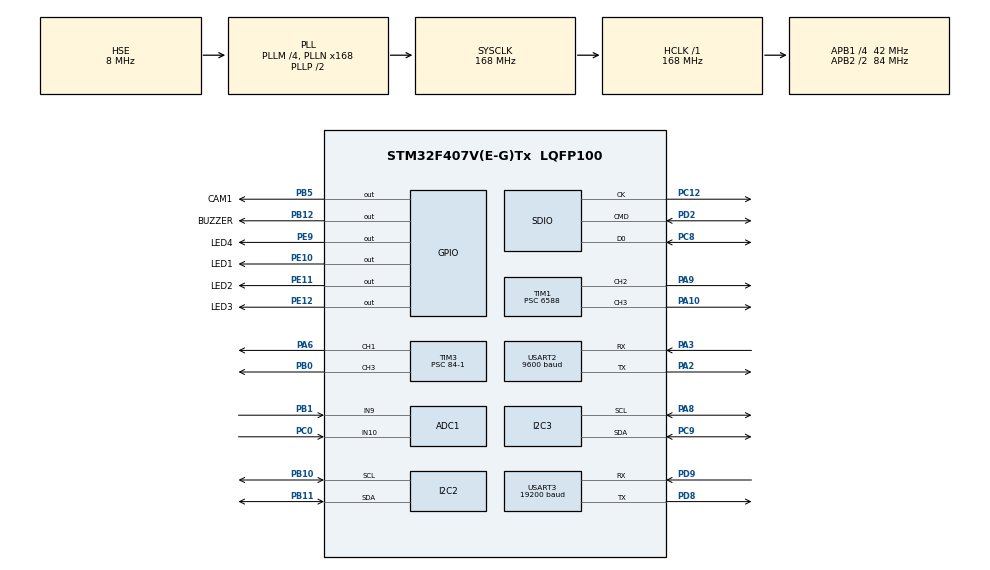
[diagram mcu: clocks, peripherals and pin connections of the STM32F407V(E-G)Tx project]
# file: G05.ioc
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ADC1.Channel-2\#ChannelRegularConversion=ADC_CHANNEL_10
ADC1.ContinuousConvMode=ENABLE
ADC1.DMAContinuousRequests=ENABLE
ADC1.NbrOfConversion=1
ADC1.NbrOfConversionFlag=1
ADC1.Rank-2\#ChannelRegularConversion=1
ADC1.SamplingTime-2\#ChannelRegularConversion=ADC_SAMPLETIME_480CYCLES
ADC1.ScanConvMode=ENABLE
ADC1.master=1
Dma.ADC1.0.Direction=DMA_PERIPH_TO_MEMORY
Dma.ADC1.0.FIFOMode=DMA_FIFOMODE_DISABLE
Dma.ADC1.0.Instance=DMA2_Stream0
Dma.ADC1.0.MemDataAlignment=DMA_MDATAALIGN_WORD
Dma.ADC1.0.MemInc=DMA_MINC_ENABLE
Dma.ADC1.0.Mode=DMA_CIRCULAR
Dma.ADC1.0.PeriphDataAlignment=DMA_PDATAALIGN_WORD
Dma.ADC1.0.PeriphInc=DMA_PINC_DISABLE
Dma.ADC1.0.Priority=DMA_PRIORITY_LOW
Dma.Request0=ADC1
Dma.Request1=USART2_RX
Dma.Request2=USART3_RX
Dma.Request3=USART3_TX
Dma.USART2_RX.1.Direction=DMA_PERIPH_TO_MEMORY
Dma.USART2_RX.1.FIFOMode=DMA_FIFOMODE_DISABLE
Dma.USART2_RX.1.Instance=DMA1_Stream5
Dma.USART2_RX.1.MemDataAlignment=DMA_MDATAALIGN_BYTE
Dma.USART2_RX.1.MemInc=DMA_MINC_ENABLE
Dma.USART2_RX.1.Mode=DMA_NORMAL
Dma.USART2_RX.1.PeriphDataAlignment=DMA_PDATAALIGN_BYTE
Dma.USART2_RX.1.PeriphInc=DMA_PINC_DISABLE
Dma.USART2_RX.1.Priority=DMA_PRIORITY_LOW
Dma.USART3_RX.2.Direction=DMA_PERIPH_TO_MEMORY
Dma.USART3_RX.2.FIFOMode=DMA_FIFOMODE_DISABLE
Dma.USART3_RX.2.Instance=DMA1_Stream1
Dma.USART3_RX.2.MemDataAlignment=DMA_MDATAALIGN_BYTE
Dma.USART3_RX.2.MemInc=DMA_MINC_ENABLE
Dma.USART3_RX.2.Mode=DMA_NORMAL
Dma.USART3_RX.2.PeriphDataAlignment=DMA_PDATAALIGN_BYTE
Dma.USART3_RX.2.PeriphInc=DMA_PINC_DISABLE
Dma.USART3_RX.2.Priority=DMA_PRIORITY_VERY_HIGH
Dma.USART3_TX.3.Direction=DMA_MEMORY_TO_PERIPH
Dma.USART3_TX.3.FIFOMode=DMA_FIFOMODE_DISABLE
Dma.USART3_TX.3.Instance=DMA1_Stream3
Dma.USART3_TX.3.MemDataAlignment=DMA_MDATAALIGN_BYTE
Dma.USART3_TX.3.MemInc=DMA_MINC_ENABLE
Dma.USART3_TX.3.Mode=DMA_NORMAL
Dma.USART3_TX.3.PeriphDataAlignment=DMA_PDATAALIGN_BYTE
Dma.USART3_TX.3.PeriphInc=DMA_PINC_DISABLE
Dma.USART3_TX.3.Priority=DMA_PRIORITY_VERY_HIGH
FATFS.USE_DMA_CODE_SD=0
FATFS._MAX_SS=512
FATFS._USE_LFN=1
I2C2.I2C_Mode=I2C_Standard
I2C3.I2C_Mode=I2C_Fast
Mcu.Family=STM32F4
Mcu.Name=STM32F407V(E-G)Tx
Mcu.Package=LQFP100
NVIC.DMA1_Stream1_IRQn=true\:0\:0\:true\:false\:true\:false\:true\:true
NVIC.DMA1_Stream3_IRQn=true\:1\:0\:true\:false\:true\:false\:true\:true
NVIC.DMA1_Stream5_IRQn=true\:2\:0\:true\:false\:true\:false\:true\:true
NVIC.DMA2_Stream0_IRQn=true\:5\:0\:true\:false\:true\:false\:true\:true
NVIC.PriorityGroup=NVIC_PRIORITYGROUP_4
NVIC.TIM1_TRG_COM_TIM11_IRQn=true\:2\:0\:true\:false\:true\:true\:true\:true
NVIC.TIM1_UP_TIM10_IRQn=true\:0\:0\:true\:false\:true\:true\:true\:true
NVIC.TIM8_TRG_COM_TIM14_IRQn=true\:3\:0\:true\:false\:true\:true\:true\:true
NVIC.TIM8_UP_TIM13_IRQn=true\:3\:0\:true\:false\:true\:true\:true\:true
NVIC.USART3_IRQn=true\:0\:0\:false\:false\:true\:true\:true\:true
PA10.Signal=S_TIM1_CH3
PA13.Mode=Serial_Wire
PA13.Signal=SYS_JTMS-SWDIO
PA14.Mode=Serial_Wire
PA14.Signal=SYS_JTCK-SWCLK
PA2.Mode=Asynchronous
PA2.Signal=USART2_TX
PA3.Mode=Asynchronous
PA3.Signal=USART2_RX
PA6.Signal=S_TIM3_CH1
PA8.Mode=I2C
PA8.Signal=I2C3_SCL
PA9.Signal=S_TIM1_CH2
PB0.Signal=S_TIM3_CH3
PB1.Signal=ADCx_IN9
PB10.Mode=I2C
PB10.Signal=I2C2_SCL
PB11.Mode=I2C
PB11.Signal=I2C2_SDA
PB12.GPIO_Label=BUZZER
PB12.Signal=GPIO_Output
PB5.GPIO_Label=CAM1
PB5.Signal=GPIO_Output
PC0.Signal=ADCx_IN10
PC12.Mode=SD_1_bit
PC12.Signal=SDIO_CK
PC14-OSC32_IN.Mode=LSE-External-Oscillator
PC14-OSC32_IN.Signal=RCC_OSC32_IN
PC15-OSC32_OUT.Mode=LSE-External-Oscillator
PC15-OSC32_OUT.Signal=RCC_OSC32_OUT
PC8.Mode=SD_1_bit
PC8.Signal=SDIO_D0
PC9.Mode=I2C
PC9.Signal=I2C3_SDA
PD2.Mode=SD_1_bit
PD2.Signal=SDIO_CMD
PD8.Mode=Asynchronous
PD8.Signal=USART3_TX
PD9.Mode=Asynchronous
PD9.Signal=USART3_RX
PE10.GPIO_Label=LED1
PE10.Signal=GPIO_Output
PE11.GPIO_Label=LED2
PE11.Signal=GPIO_Output
PE12.GPIO_Label=LED3
PE12.Signal=GPIO_Output
PE9.GPIO_Label=LED4
PE9.Signal=GPIO_Output
PH0-OSC_IN.Mode=HSE-External-Oscillator
PH0-OSC_IN.Signal=RCC_OSC_IN
PH1-OSC_OUT.Mode=HSE-External-Oscillator
PH1-OSC_OUT.Signal=RCC_OSC_OUT
ProjectManager.HeapSize=0x200
ProjectManager.StackSize=0x400
ProjectManager.TargetToolchain=STM32CubeIDE
RCC.48MHZClocksFreq_Value=48000000
RCC.AHBFreq_Value=168000000
RCC.APB1CLKDivider=RCC_HCLK_DIV4
RCC.APB1Freq_Value=42000000
RCC.APB1TimFreq_Value=84000000
RCC.APB2CLKDivider=RCC_HCLK_DIV2
RCC.APB2Freq_Value=84000000
RCC.APB2TimFreq_Value=168000000
RCC.CortexFreq_Value=168000000
RCC.HCLKFreq_Value=168000000
RCC.HSE_VALUE=8000000
RCC.HSI_VALUE=16000000
RCC.PLLM=4
RCC.PLLN=168
RCC.PLLQ=7
RCC.PLLSourceVirtual=RCC_PLLSOURCE_HSE
RCC.RCC_RTC_Clock_Source=RCC_RTCCLKSOURCE_LSE
RCC.RCC_RTC_Clock_SourceVirtual=RCC_RTCCLKSOURCE_LSE
RCC.SYSCLKFreq_VALUE=168000000
RCC.SYSCLKSource=RCC_SYSCLKSOURCE_PLLCLK
RCC.VCOOutputFreq_Value=336000000
SDIO.ClockDiv=12
SH.ADCx_IN10.0=ADC1_IN10,IN10
SH.ADCx_IN9.0=ADC1_IN9,IN9
SH.S_TIM1_CH2.0=TIM1_CH2,PWM Generation2 CH2
SH.S_TIM1_CH3.0=TIM1_CH3,PWM Generation3 CH3
SH.S_TIM3_CH1.0=TIM3_CH1,PWM Generation1 CH1
SH.S_TIM3_CH3.0=TIM3_CH3,PWM Generation3 CH3
TIM1.Channel-PWM\ Generation2\ CH2=TIM_CHANNEL_2
TIM1.Channel-PWM\ Generation3\ CH3=TIM_CHANNEL_3
TIM1.Period=255
TIM1.Prescaler=6588
TIM10.Period=10000-1
TIM10.Prescaler=16800-1
TIM11.Period=1250-1
TIM11.Prescaler=16800-1
TIM13.Period=200-1
TIM13.Prescaler=8400-1
TIM14.Period=10-1
TIM14.Prescaler=8400-1
TIM3.Channel-PWM\ Generation1\ CH1=TIM_CHANNEL_1
TIM3.Channel-PWM\ Generation3\ CH3=TIM_CHANNEL_3
TIM3.Period=20000-1
TIM3.Prescaler=84-1
TIM8.Period=2500-1
TIM8.Prescaler=16800-1
TIM9.Period=20000-1
TIM9.Prescaler=168-1
USART2.BaudRate=9600
USART2.VirtualMode=VM_ASYNC
USART3.BaudRate=19200
USART3.VirtualMode=VM_ASYNC
VP_FATFS_VS_SDIO.Mode=SDIO
VP_RTC_VS_RTC_Activate.Mode=RTC_Enabled
VP_TIM10_VS_ClockSourceINT.Mode=Enable_Timer
VP_TIM11_VS_ClockSourceINT.Mode=Enable_Timer
VP_TIM13_VS_ClockSourceINT.Mode=Enable_Timer
VP_TIM14_VS_ClockSourceINT.Mode=Enable_Timer
VP_TIM1_VS_ClockSourceINT.Mode=Internal
VP_TIM3_VS_ClockSourceINT.Mode=Internal
VP_TIM8_VS_ClockSourceINT.Mode=Internal
VP_TIM9_VS_ClockSourceINT.Mode=Internal
board=custom

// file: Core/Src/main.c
/* USER CODE BEGIN Header */
/**
  ******************************************************************************
  * @file           : main.c
  * @brief          : Main program body
  ******************************************************************************
  * @attention
  *
  * Copyright (c) 2023 STMicroelectronics.
  * All rights reserved.
  *
  * This software is licensed under terms that can be found in the LICENSE file
  * in the root directory of this software component.
  * If no LICENSE file comes with this software, it is provided AS-IS.
  *
  ******************************************************************************
  */
/* USER CODE END Header */
#include "main.h"
#include "fatfs.h"

/* USER CODE BEGIN Includes */
#include <stdio.h>
#include <string.h>
#include <math.h>
#include "kom.h"
#include "task.h"
#include "BME280_STM32.h"
#include "bno055.h"
#include "GPS.h"
#include "servo.h"
#include "File_Handling.h"
#include "tm_stm32f4_bkpsram.h"
#include "pid.h"
#include "as5600.h"
/* USER CODE END Includes */

ADC_HandleTypeDef hadc1;
DMA_HandleTypeDef hdma_adc1;

I2C_HandleTypeDef hi2c2;
I2C_HandleTypeDef hi2c3;

RTC_HandleTypeDef hrtc;

SD_HandleTypeDef hsd;

TIM_HandleTypeDef htim1;
TIM_HandleTypeDef htim3;
TIM_HandleTypeDef htim8;
TIM_HandleTypeDef htim9;
TIM_HandleTypeDef htim10;
TIM_HandleTypeDef htim11;
TIM_HandleTypeDef htim13;
TIM_HandleTypeDef htim14;

UART_HandleTypeDef huart2;
UART_HandleTypeDef huart3;
DMA_HandleTypeDef hdma_usart2_rx;
DMA_HandleTypeDef hdma_usart3_rx;
DMA_HandleTypeDef hdma_usart3_tx;

/* USER CODE BEGIN PV */

extern datatelemetri_t datatelemetri;
extern uint16_t counting;
extern uint8_t flaggimbal;
extern uint8_t flagtel;
extern uint8_t flagkameraon;
extern uint8_t flagkameraoff;
uint8_t timerkamera1 = 29;
uint8_t timerkamera2 = 26;

bno055_vector_t bno055_euler, bno055_gyro;

PID_TypeDef _PID;
volatile int CountENC = 0;
int Rev = 0;
int Current_Angle = 0;
int CW, CCW;
double output = 0, Setpoint = 0, jarak_min = 0, input = 0;

/* USER CODE END PV */

void SystemClock_Config(void);
static void MX_GPIO_Init(void);
static void MX_DMA_Init(void);
static void MX_USART3_UART_Init(void);
static void MX_TIM10_Init(void);
static void MX_I2C2_Init(void);
static void MX_I2C3_Init(void);
static void MX_ADC1_Init(void);
static void MX_USART2_UART_Init(void);
static void MX_SDIO_SD_Init(void);
static void MX_TIM3_Init(void);
static void MX_TIM9_Init(void);
static void MX_TIM13_Init(void);
static void MX_TIM11_Init(void);
static void MX_RTC_Init(void);
static void MX_TIM1_Init(void);
static void MX_TIM14_Init(void);
static void MX_TIM8_Init(void);
/* USER CODE BEGIN PFP */

int map(int value, int from_low, int from_high, int to_low, int to_high)
{
    return ((value - from_low) * (to_high - to_low)) / (from_high - from_low) + to_low;
}

/* USER CODE END PFP */

/* USER CODE BEGIN 0 */

void HAL_TIM_PeriodElapsedCallback(TIM_HandleTypeDef *htim)
{
    if (htim == &htim10)
    {
		ambildata();
		if (flagtel == 1)
		{
			counting++;
			TM_BKPSRAM_Write16(PACKETCOUNT_ADR, counting);
			HAL_UART_Transmit_DMA(&huart3, (uint8_t *)datatelemetri.telemetritotal, strnlen(datatelemetri.telemetritotal, sizeof(datatelemetri.telemetritotal)));
			HAL_GPIO_WritePin(LED4_GPIO_Port, LED4_Pin, SET);
		}
		Update_File("2032.txt", datatelemetri.telemetritotal);
		HAL_GPIO_WritePin(LED4_GPIO_Port, LED4_Pin, RESET);
	}

    if (htim == &htim8)
	{
    	if (flagkameraon)
		{
			timerkamera1--;
			if(timerkamera1 < 29 && timerkamera1 > 27)
			{
				//28
				HAL_GPIO_WritePin(CAM1_GPIO_Port, CAM1_Pin, SET);
			}
			else if (timerkamera1 > 11 && timerkamera1 < 13)
			{
				//12
				HAL_GPIO_WritePin(CAM1_GPIO_Port, CAM1_Pin, RESET);
			}
			else if (timerkamera1 > 3 && timerkamera1 < 5)
			{
				//4
				HAL_GPIO_WritePin(CAM1_GPIO_Port, CAM1_Pin, SET);
			}
			if (timerkamera1 < 1)
			{
				flagkameraon = 0;
				timerkamera1 = 29;
				HAL_GPIO_WritePin(CAM1_GPIO_Port, CAM1_Pin, RESET);
			}
		}

		if (flagkameraoff)
		{
			timerkamera2--;
			if (timerkamera2 < 26 && timerkamera2 > 24)
			{
				//25
				HAL_GPIO_WritePin(CAM1_GPIO_Port, CAM1_Pin, SET);
			}
			else if (timerkamera2 < 22 && timerkamera2 > 20)
			{
				//21
				HAL_GPIO_WritePin(CAM1_GPIO_Port, CAM1_Pin, RESET);
			}
			else if (timerkamera2 < 19 && timerkamera2 > 17)
			{
				//18
				HAL_GPIO_WritePin(CAM1_GPIO_Port, CAM1_Pin, SET);
			}
			else if (timerkamera2 < 1)
			{
				flagkameraoff = 0;
				timerkamera2 = 26;
				HAL_GPIO_WritePin(CAM1_GPIO_Port, CAM1_Pin, RESET);
			}
		}
	}

	if (htim == &htim11)
	{
		BME280_Measure();
	}

	if (htim == &htim13)
	{
		bno055_gyro = bno055_getVectorGyroscope();
		bno055_euler = bno055_getVectorEuler();
    }

	if (htim == &htim14)
	{
		if (flaggimbal)
		{
			CountENC = getCumulativePosition();
			Rev=CountENC%4095;
			Current_Angle = map(Rev,0,4095,0,359);
			CW=((int)bno055_euler.x-Current_Angle+360)%360;
			CCW=((Current_Angle-(int)bno055_euler.x+360)%360);
			if(CW < CCW) jarak_min=CW;
			else jarak_min=-CCW;
			input=jarak_min;
			PID_Compute(&_PID);

			if (output > 0) {
				TIM1->CCR3 = (uint32_t)output;
			} else {
				TIM1->CCR2 = (uint32_t)abs(output);
			}
		}
	}
}

void HAL_ADC_ConvCpltCallback(ADC_HandleTypeDef* hadc)
{
	ADC_measure();
}

void HAL_UART_RxCpltCallback(UART_HandleTypeDef *huart)
{
    if (huart == &huart2)
    {
    	parsegpsdata();
    }

    if (huart == &huart3)
    {
    	checkdata_();
    }
}

void HAL_UART_TxCpltCallback(UART_HandleTypeDef *huart)
{
}

/* USER CODE END 0 */

int main(void)
{

  /* MCU Configuration--------------------------------------------------------*/

  /* Reset of all peripherals, Initializes the Flash interface and the Systick. */
  HAL_Init();

  /* Configure the system clock */
  SystemClock_Config();

  /* Initialize all configured peripherals */
  MX_GPIO_Init();
  MX_DMA_Init();
  MX_USART3_UART_Init();
  MX_TIM10_Init();
  MX_FATFS_Init();
  MX_I2C2_Init();
  MX_I2C3_Init();
  MX_ADC1_Init();
  MX_USART2_UART_Init();
  MX_SDIO_SD_Init();
  MX_TIM3_Init();
  MX_TIM9_Init();
  MX_TIM13_Init();
  MX_TIM11_Init();
  MX_RTC_Init();
  MX_TIM1_Init();
  MX_TIM14_Init();
  MX_TIM8_Init();
  /* USER CODE BEGIN 2 */

  TM_BKPSRAM_Init();
  init();
  rtcbackup();
  Mount_SD((const TCHAR *)"");
  Create_File("2032.txt");
  bno055_init();
  if (BME280_Config(OSRS_2, OSRS_16, OSRS_1, MODE_NORMAL, T_SB_0p5, IIR_16) == 0)
  {
      HAL_GPIO_WritePin(LED2_GPIO_Port, LED2_Pin, SET);
  }
  else
  {
	  Error_Handler();
  }

  PID(&_PID, &input, &output, &Setpoint, 11, 0, 0, _PID_P_ON_E, _PID_CD_DIRECT);
  PID_SetMode(&_PID, _PID_MODE_AUTOMATIC);
  PID_SetSampleTime(&_PID, 1);
  PID_SetOutputLimits(&_PID, -255, 255);

  resetPosition(0);
  resetCumulativePosition(0);
  TIM1->CCR2 = 0;
  TIM1->CCR3 = 0;

  HAL_TIM_PWM_Start(&htim1, TIM_CHANNEL_3);
  HAL_TIM_PWM_Start(&htim1, TIM_CHANNEL_2);
  HAL_TIM_PWM_Start(&htim3, TIM_CHANNEL_3);

  kominit();
  gpsinit();
  adcinit();

  HAL_TIM_Base_Start_IT(&htim10);
  HAL_TIM_Base_Start_IT(&htim8);
  HAL_TIM_Base_Start_IT(&htim11);
  HAL_TIM_Base_Start_IT(&htim13);
  HAL_TIM_Base_Start_IT(&htim14);

  /* USER CODE END 2 */

  /* Infinite loop */
  while (1)
  {

  }
}

void SystemClock_Config(void)
{
  RCC_OscInitTypeDef RCC_OscInitStruct = {0};
  RCC_ClkInitTypeDef RCC_ClkInitStruct = {0};

  /** Configure the main internal regulator output voltage
  */
  __HAL_RCC_PWR_CLK_ENABLE();
  __HAL_PWR_VOLTAGESCALING_CONFIG(PWR_REGULATOR_VOLTAGE_SCALE1);

  /** Initializes the RCC Oscillators according to the specified parameters
  * in the RCC_OscInitTypeDef structure.
  */
  RCC_OscInitStruct.OscillatorType = RCC_OSCILLATORTYPE_HSE|RCC_OSCILLATORTYPE_LSE;
  RCC_OscInitStruct.HSEState = RCC_HSE_ON;
  RCC_OscInitStruct.LSEState = RCC_LSE_ON;
  RCC_OscInitStruct.PLL.PLLState = RCC_PLL_ON;
  RCC_OscInitStruct.PLL.PLLSource = RCC_PLLSOURCE_HSE;
  RCC_OscInitStruct.PLL.PLLM = 4;
  RCC_OscInitStruct.PLL.PLLN = 168;
  RCC_OscInitStruct.PLL.PLLP = RCC_PLLP_DIV2;
  RCC_OscInitStruct.PLL.PLLQ = 7;
  if (HAL_RCC_OscConfig(&RCC_OscInitStruct) != HAL_OK)
  {
    Error_Handler();
  }

  /** Initializes the CPU, AHB and APB buses clocks
  */
  RCC_ClkInitStruct.ClockType = RCC_CLOCKTYPE_HCLK|RCC_CLOCKTYPE_SYSCLK
                              |RCC_CLOCKTYPE_PCLK1|RCC_CLOCKTYPE_PCLK2;
  RCC_ClkInitStruct.SYSCLKSource = RCC_SYSCLKSOURCE_PLLCLK;
  RCC_ClkInitStruct.AHBCLKDivider = RCC_SYSCLK_DIV1;
  RCC_ClkInitStruct.APB1CLKDivider = RCC_HCLK_DIV4;
  RCC_ClkInitStruct.APB2CLKDivider = RCC_HCLK_DIV2;

  if (HAL_RCC_ClockConfig(&RCC_ClkInitStruct, FLASH_LATENCY_5) != HAL_OK)
  {
    Error_Handler();
  }
}

static void MX_ADC1_Init(void)
{

  ADC_ChannelConfTypeDef sConfig = {0};

  /** Configure the global features of the ADC (Clock, Resolution, Data Alignment and number of conversion)
  */
  hadc1.Instance = ADC1;
  hadc1.Init.ClockPrescaler = ADC_CLOCK_SYNC_PCLK_DIV4;
  hadc1.Init.Resolution = ADC_RESOLUTION_12B;
  hadc1.Init.ScanConvMode = ENABLE;
  hadc1.Init.ContinuousConvMode = ENABLE;
  hadc1.Init.DiscontinuousConvMode = DISABLE;
  hadc1.Init.ExternalTrigConvEdge = ADC_EXTERNALTRIGCONVEDGE_NONE;
  hadc1.Init.ExternalTrigConv = ADC_SOFTWARE_START;
  hadc1.Init.DataAlign = ADC_DATAALIGN_RIGHT;
  hadc1.Init.NbrOfConversion = 1;
  hadc1.Init.DMAContinuousRequests = ENABLE;
  hadc1.Init.EOCSelection = ADC_EOC_SINGLE_CONV;
  if (HAL_ADC_Init(&hadc1) != HAL_OK)
  {
    Error_Handler();
  }

  /** Configure for the selected ADC regular channel its corresponding rank in the sequencer and its sample time.
  */
  sConfig.Channel = ADC_CHANNEL_10;
  sConfig.Rank = 1;
  sConfig.SamplingTime = ADC_SAMPLETIME_480CYCLES;
  if (HAL_ADC_ConfigChannel(&hadc1, &sConfig) != HAL_OK)
  {
    Error_Handler();
  }

}

static void MX_I2C2_Init(void)
{

  hi2c2.Instance = I2C2;
  hi2c2.Init.ClockSpeed = 100000;
  hi2c2.Init.DutyCycle = I2C_DUTYCYCLE_2;
  hi2c2.Init.OwnAddress1 = 0;
  hi2c2.Init.AddressingMode = I2C_ADDRESSINGMODE_7BIT;
  hi2c2.Init.DualAddressMode = I2C_DUALADDRESS_DISABLE;
  hi2c2.Init.OwnAddress2 = 0;
  hi2c2.Init.GeneralCallMode = I2C_GENERALCALL_DISABLE;
  hi2c2.Init.NoStretchMode = I2C_NOSTRETCH_DISABLE;
  if (HAL_I2C_Init(&hi2c2) != HAL_OK)
  {
    Error_Handler();
  }

}

static void MX_I2C3_Init(void)
{

  hi2c3.Instance = I2C3;
  hi2c3.Init.ClockSpeed = 400000;
  hi2c3.Init.DutyCycle = I2C_DUTYCYCLE_2;
  hi2c3.Init.OwnAddress1 = 0;
  hi2c3.Init.AddressingMode = I2C_ADDRESSINGMODE_7BIT;
  hi2c3.Init.DualAddressMode = I2C_DUALADDRESS_DISABLE;
  hi2c3.Init.OwnAddress2 = 0;
  hi2c3.Init.GeneralCallMode = I2C_GENERALCALL_DISABLE;
  hi2c3.Init.NoStretchMode = I2C_NOSTRETCH_DISABLE;
  if (HAL_I2C_Init(&hi2c3) != HAL_OK)
  {
    Error_Handler();
  }

}

static void MX_RTC_Init(void)
{

  /** Initialize RTC Only
  */
  hrtc.Instance = RTC;
  hrtc.Init.HourFormat = RTC_HOURFORMAT_24;
  hrtc.Init.AsynchPrediv = 127;
  hrtc.Init.SynchPrediv = 255;
  hrtc.Init.OutPut = RTC_OUTPUT_DISABLE;
  hrtc.Init.OutPutPolarity = RTC_OUTPUT_POLARITY_HIGH;
  hrtc.Init.OutPutType = RTC_OUTPUT_TYPE_OPENDRAIN;
  if (HAL_RTC_Init(&hrtc) != HAL_OK)
  {
    Error_Handler();
  }

}

static void MX_SDIO_SD_Init(void)
{

  hsd.Instance = SDIO;
  hsd.Init.ClockEdge = SDIO_CLOCK_EDGE_RISING;
  hsd.Init.ClockBypass = SDIO_CLOCK_BYPASS_DISABLE;
  hsd.Init.ClockPowerSave = SDIO_CLOCK_POWER_SAVE_DISABLE;
  hsd.Init.BusWide = SDIO_BUS_WIDE_1B;
  hsd.Init.HardwareFlowControl = SDIO_HARDWARE_FLOW_CONTROL_DISABLE;
  hsd.Init.ClockDiv = 12;

}

static void MX_TIM1_Init(void)
{

  TIM_ClockConfigTypeDef sClockSourceConfig = {0};
  TIM_MasterConfigTypeDef sMasterConfig = {0};
  TIM_OC_InitTypeDef sConfigOC = {0};
  TIM_BreakDeadTimeConfigTypeDef sBreakDeadTimeConfig = {0};

  htim1.Instance = TIM1;
  htim1.Init.Prescaler = 6588;
  htim1.Init.CounterMode = TIM_COUNTERMODE_UP;
  htim1.Init.Period = 255;
  htim1.Init.ClockDivision = TIM_CLOCKDIVISION_DIV1;
  htim1.Init.RepetitionCounter = 0;
  htim1.Init.AutoReloadPreload = TIM_AUTORELOAD_PRELOAD_DISABLE;
  if (HAL_TIM_Base_Init(&htim1) != HAL_OK)
  {
    Error_Handler();
  }
  sClockSourceConfig.ClockSource = TIM_CLOCKSOURCE_INTERNAL;
  if (HAL_TIM_ConfigClockSource(&htim1, &sClockSourceConfig) != HAL_OK)
  {
    Error_Handler();
  }
  if (HAL_TIM_PWM_Init(&htim1) != HAL_OK)
  {
    Error_Handler();
  }
  sMasterConfig.MasterOutputTrigger = TIM_TRGO_RESET;
  sMasterConfig.MasterSlaveMode = TIM_MASTERSLAVEMODE_DISABLE;
  if (HAL_TIMEx_MasterConfigSynchronization(&htim1, &sMasterConfig) != HAL_OK)
  {
    Error_Handler();
  }
  sConfigOC.OCMode = TIM_OCMODE_PWM1;
  sConfigOC.Pulse = 0;
  sConfigOC.OCPolarity = TIM_OCPOLARITY_HIGH;
  sConfigOC.OCNPolarity = TIM_OCNPOLARITY_HIGH;
  sConfigOC.OCFastMode = TIM_OCFAST_DISABLE;
  sConfigOC.OCIdleState = TIM_OCIDLESTATE_RESET;
  sConfigOC.OCNIdleState = TIM_OCNIDLESTATE_RESET;
  if (HAL_TIM_PWM_ConfigChannel(&htim1, &sConfigOC, TIM_CHANNEL_2) != HAL_OK)
  {
    Error_Handler();
  }
  if (HAL_TIM_PWM_ConfigChannel(&htim1, &sConfigOC, TIM_CHANNEL_3) != HAL_OK)
  {
    Error_Handler();
  }
  sBreakDeadTimeConfig.OffStateRunMode = TIM_OSSR_DISABLE;
  sBreakDeadTimeConfig.OffStateIDLEMode = TIM_OSSI_DISABLE;
  sBreakDeadTimeConfig.LockLevel = TIM_LOCKLEVEL_OFF;
  sBreakDeadTimeConfig.DeadTime = 0;
  sBreakDeadTimeConfig.BreakState = TIM_BREAK_DISABLE;
  sBreakDeadTimeConfig.BreakPolarity = TIM_BREAKPOLARITY_HIGH;
  sBreakDeadTimeConfig.AutomaticOutput = TIM_AUTOMATICOUTPUT_DISABLE;
  if (HAL_TIMEx_ConfigBreakDeadTime(&htim1, &sBreakDeadTimeConfig) != HAL_OK)
  {
    Error_Handler();
  }
  HAL_TIM_MspPostInit(&htim1);

}

static void MX_TIM3_Init(void)
{

  TIM_ClockConfigTypeDef sClockSourceConfig = {0};
  TIM_MasterConfigTypeDef sMasterConfig = {0};
  TIM_OC_InitTypeDef sConfigOC = {0};

  htim3.Instance = TIM3;
  htim3.Init.Prescaler = 84-1;
  htim3.Init.CounterMode = TIM_COUNTERMODE_UP;
  htim3.Init.Period = 20000-1;
  htim3.Init.ClockDivision = TIM_CLOCKDIVISION_DIV1;
  htim3.Init.AutoReloadPreload = TIM_AUTORELOAD_PRELOAD_DISABLE;
  if (HAL_TIM_Base_Init(&htim3) != HAL_OK)
  {
    Error_Handler();
  }
  sClockSourceConfig.ClockSource = TIM_CLOCKSOURCE_INTERNAL;
  if (HAL_TIM_ConfigClockSource(&htim3, &sClockSourceConfig) != HAL_OK)
  {
    Error_Handler();
  }
  if (HAL_TIM_PWM_Init(&htim3) != HAL_OK)
  {
    Error_Handler();
  }
  sMasterConfig.MasterOutputTrigger = TIM_TRGO_RESET;
  sMasterConfig.MasterSlaveMode = TIM_MASTERSLAVEMODE_DISABLE;
  if (HAL_TIMEx_MasterConfigSynchronization(&htim3, &sMasterConfig) != HAL_OK)
  {
    Error_Handler();
  }
  sConfigOC.OCMode = TIM_OCMODE_PWM1;
  sConfigOC.Pulse = 0;
  sConfigOC.OCPolarity = TIM_OCPOLARITY_HIGH;
  sConfigOC.OCFastMode = TIM_OCFAST_DISABLE;
  if (HAL_TIM_PWM_ConfigChannel(&htim3, &sConfigOC, TIM_CHANNEL_1) != HAL_OK)
  {
    Error_Handler();
  }
  if (HAL_TIM_PWM_ConfigChannel(&htim3, &sConfigOC, TIM_CHANNEL_3) != HAL_OK)
  {
    Error_Handler();
  }
  HAL_TIM_MspPostInit(&htim3);

}

static void MX_TIM8_Init(void)
{

  TIM_ClockConfigTypeDef sClockSourceConfig = {0};
  TIM_MasterConfigTypeDef sMasterConfig = {0};

  htim8.Instance = TIM8;
  htim8.Init.Prescaler = 16800-1;
  htim8.Init.CounterMode = TIM_COUNTERMODE_UP;
  htim8.Init.Period = 2500-1;
  htim8.Init.ClockDivision = TIM_CLOCKDIVISION_DIV1;
  htim8.Init.RepetitionCounter = 0;
  htim8.Init.AutoReloadPreload = TIM_AUTORELOAD_PRELOAD_DISABLE;
  if (HAL_TIM_Base_Init(&htim8) != HAL_OK)
  {
    Error_Handler();
  }
  sClockSourceConfig.ClockSource = TIM_CLOCKSOURCE_INTERNAL;
  if (HAL_TIM_ConfigClockSource(&htim8, &sClockSourceConfig) != HAL_OK)
  {
    Error_Handler();
  }
  sMasterConfig.MasterOutputTrigger = TIM_TRGO_RESET;
  sMasterConfig.MasterSlaveMode = TIM_MASTERSLAVEMODE_DISABLE;
  if (HAL_TIMEx_MasterConfigSynchronization(&htim8, &sMasterConfig) != HAL_OK)
  {
    Error_Handler();
  }

}

static void MX_TIM9_Init(void)
{

  TIM_ClockConfigTypeDef sClockSourceConfig = {0};

  htim9.Instance = TIM9;
  htim9.Init.Prescaler = 168-1;
  htim9.Init.CounterMode = TIM_COUNTERMODE_UP;
  htim9.Init.Period = 20000-1;
  htim9.Init.ClockDivision = TIM_CLOCKDIVISION_DIV1;
  htim9.Init.AutoReloadPreload = TIM_AUTORELOAD_PRELOAD_DISABLE;
  if (HAL_TIM_Base_Init(&htim9) != HAL_OK)
  {
    Error_Handler();
  }
  sClockSourceConfig.ClockSource = TIM_CLOCKSOURCE_INTERNAL;
  if (HAL_TIM_ConfigClockSource(&htim9, &sClockSourceConfig) != HAL_OK)
  {
    Error_Handler();
  }

}

static void MX_TIM10_Init(void)
{

  htim10.Instance = TIM10;
  htim10.Init.Prescaler = 16800-1;
  htim10.Init.CounterMode = TIM_COUNTERMODE_UP;
  htim10.Init.Period = 10000-1;
  htim10.Init.ClockDivision = TIM_CLOCKDIVISION_DIV1;
  htim10.Init.AutoReloadPreload = TIM_AUTORELOAD_PRELOAD_DISABLE;
  if (HAL_TIM_Base_Init(&htim10) != HAL_OK)
  {
    Error_Handler();
  }

}

static void MX_TIM11_Init(void)
{

  htim11.Instance = TIM11;
  htim11.Init.Prescaler = 16800-1;
  htim11.Init.CounterMode = TIM_COUNTERMODE_UP;
  htim11.Init.Period = 1250-1;
  htim11.Init.ClockDivision = TIM_CLOCKDIVISION_DIV1;
  htim11.Init.AutoReloadPreload = TIM_AUTORELOAD_PRELOAD_DISABLE;
  if (HAL_TIM_Base_Init(&htim11) != HAL_OK)
  {
    Error_Handler();
  }

}

static void MX_TIM13_Init(void)
{

  htim13.Instance = TIM13;
  htim13.Init.Prescaler = 8400-1;
  htim13.Init.CounterMode = TIM_COUNTERMODE_UP;
  htim13.Init.Period = 200-1;
  htim13.Init.ClockDivision = TIM_CLOCKDIVISION_DIV1;
  htim13.Init.AutoReloadPreload = TIM_AUTORELOAD_PRELOAD_DISABLE;
  if (HAL_TIM_Base_Init(&htim13) != HAL_OK)
  {
    Error_Handler();
  }

}

static void MX_TIM14_Init(void)
{

  htim14.Instance = TIM14;
  htim14.Init.Prescaler = 8400-1;
  htim14.Init.CounterMode = TIM_COUNTERMODE_UP;
  htim14.Init.Period = 10-1;
  htim14.Init.ClockDivision = TIM_CLOCKDIVISION_DIV1;
  htim14.Init.AutoReloadPreload = TIM_AUTORELOAD_PRELOAD_DISABLE;
  if (HAL_TIM_Base_Init(&htim14) != HAL_OK)
  {
    Error_Handler();
  }

}

static void MX_USART2_UART_Init(void)
{

  huart2.Instance = USART2;
  huart2.Init.BaudRate = 9600;
  huart2.Init.WordLength = UART_WORDLENGTH_8B;
  huart2.Init.StopBits = UART_STOPBITS_1;
  huart2.Init.Parity = UART_PARITY_NONE;
  huart2.Init.Mode = UART_MODE_TX_RX;
  huart2.Init.HwFlowCtl = UART_HWCONTROL_NONE;
  huart2.Init.OverSampling = UART_OVERSAMPLING_16;
  if (HAL_UART_Init(&huart2) != HAL_OK)
  {
    Error_Handler();
  }

}

static void MX_USART3_UART_Init(void)
{

  huart3.Instance = USART3;
  huart3.Init.BaudRate = 19200;
  huart3.Init.WordLength = UART_WORDLENGTH_8B;
  huart3.Init.StopBits = UART_STOPBITS_1;
  huart3.Init.Parity = UART_PARITY_NONE;
  huart3.Init.Mode = UART_MODE_TX_RX;
  huart3.Init.HwFlowCtl = UART_HWCONTROL_NONE;
  huart3.Init.OverSampling = UART_OVERSAMPLING_16;
  if (HAL_UART_Init(&huart3) != HAL_OK)
  {
    Error_Handler();
  }

}

static void MX_DMA_Init(void)
{

  /* DMA controller clock enable */
  __HAL_RCC_DMA2_CLK_ENABLE();
  __HAL_RCC_DMA1_CLK_ENABLE();

  /* DMA interrupt init */
  /* DMA1_Stream1_IRQn interrupt configuration */
  HAL_NVIC_SetPriority(DMA1_Stream1_IRQn, 0, 0);
  HAL_NVIC_EnableIRQ(DMA1_Stream1_IRQn);
  /* DMA1_Stream3_IRQn interrupt configuration */
  HAL_NVIC_SetPriority(DMA1_Stream3_IRQn, 1, 0);
  HAL_NVIC_EnableIRQ(DMA1_Stream3_IRQn);
  /* DMA1_Stream5_IRQn interrupt configuration */
  HAL_NVIC_SetPriority(DMA1_Stream5_IRQn, 2, 0);
  HAL_NVIC_EnableIRQ(DMA1_Stream5_IRQn);
  /* DMA2_Stream0_IRQn interrupt configuration */
  HAL_NVIC_SetPriority(DMA2_Stream0_IRQn, 5, 0);
  HAL_NVIC_EnableIRQ(DMA2_Stream0_IRQn);

}

static void MX_GPIO_Init(void)
{
  GPIO_InitTypeDef GPIO_InitStruct = {0};

  /* GPIO Ports Clock Enable */
  __HAL_RCC_GPIOC_CLK_ENABLE();
  __HAL_RCC_GPIOH_CLK_ENABLE();
  __HAL_RCC_GPIOA_CLK_ENABLE();
  __HAL_RCC_GPIOB_CLK_ENABLE();
  __HAL_RCC_GPIOE_CLK_ENABLE();
  __HAL_RCC_GPIOD_CLK_ENABLE();

  /*Configure GPIO pin Output Level */
  HAL_GPIO_WritePin(GPIOE, LED4_Pin|LED1_Pin|LED2_Pin|LED3_Pin, GPIO_PIN_RESET);

  /*Configure GPIO pin Output Level */
  HAL_GPIO_WritePin(GPIOB, BUZZER_Pin|CAM1_Pin, GPIO_PIN_RESET);

  /*Configure GPIO pins : LED4_Pin LED1_Pin LED2_Pin LED3_Pin */
  GPIO_InitStruct.Pin = LED4_Pin|LED1_Pin|LED2_Pin|LED3_Pin;
  GPIO_InitStruct.Mode = GPIO_MODE_OUTPUT_PP;
  GPIO_InitStruct.Pull = GPIO_NOPULL;
  GPIO_InitStruct.Speed = GPIO_SPEED_FREQ_LOW;
  HAL_GPIO_Init(GPIOE, &GPIO_InitStruct);

  /*Configure GPIO pins : BUZZER_Pin CAM1_Pin */
  GPIO_InitStruct.Pin = BUZZER_Pin|CAM1_Pin;
  GPIO_InitStruct.Mode = GPIO_MODE_OUTPUT_PP;
  GPIO_InitStruct.Pull = GPIO_NOPULL;
  GPIO_InitStruct.Speed = GPIO_SPEED_FREQ_LOW;
  HAL_GPIO_Init(GPIOB, &GPIO_InitStruct);

}

void Error_Handler(void)
{
  __disable_irq();
  while (1)
  {
  }
}
